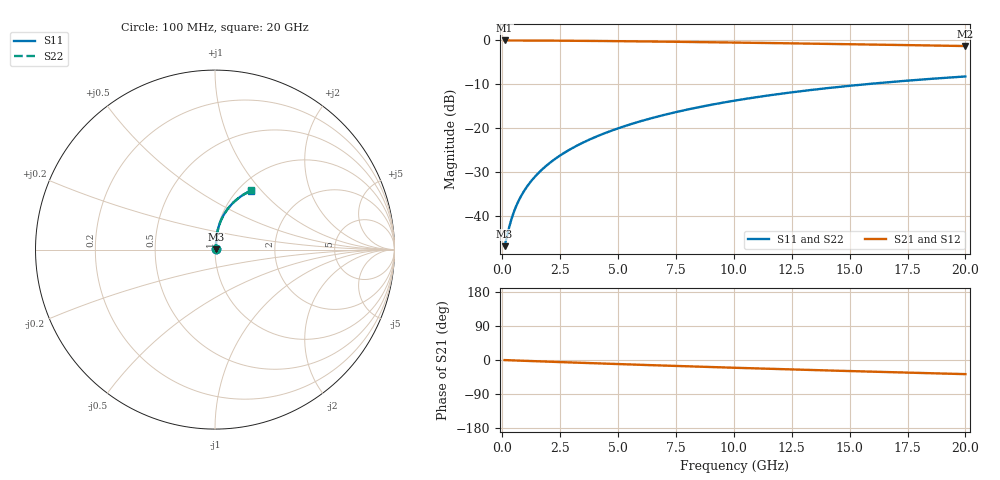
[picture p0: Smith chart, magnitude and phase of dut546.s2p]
! Touchstone file exported from HFSS 2024.1.0
!  File:  C:/UserFiles/LocalFiles/RDL_TSV_Batchsim/temp_RDL_bottom_546_1779689116.aedt
!  Generated:  02:07:57 PM May 25, 2026
!  Design:  RDL_bottom
!  Project:  temp_RDL_bottom_546_1779689116
!  Setup:  Setup1
!  Solution:  Sweep
! Variables:
!  dtsv = 10.80580581um
!  hbump = 3um
!  htsv = 60.38um
!  ldown = 474.34um
!  lrdl = 100um
!  p = 40
!  p1 = 54.75um
!  rhole = 1um
!  t = 450um
!  tdown = 2.19um
!  trdl = 3.915915916um
!  wdown = 20.83um
!  wrdl = 20um
# GHz S MA R 50.000000
! Terminal data exported
! Port[1] = RDL1_T1
! Port[2] = RDL1_T2
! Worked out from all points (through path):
!   200 points, 100 MHz to 20 GHz, reference 50 ohm
!   highest |S21| = -0.03 dB at 100 MHz (marker M1); lowest = -1.3 dB at 20 GHz (marker M2)
!   group delay of S21, straight-line fit = 5.15 ps
!   lowest |S11| = -47.0 dB at 100 MHz (marker M3), VSWR 1.01, Z = 50.4 + j0.209 ohm
!   |S11| at or under -10 dB: start of sweep to 15.75 GHz
!   |S22| runs from -47.0 to -8.2 dB; largest |S21 - S12| = 3.4e-15
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0.1  0.004487 27.6  0.996 -0.2  0.996 -0.2  0.004487 27.6
! Gamma 0 0 0 0
! Port Impedance 50 0 50 0
0.3  0.007438 55.9  0.9958 -0.7  0.9958 -0.7  0.007438 55.9
0.4  0.009211 62.1  0.9956 -0.9  0.9956 -0.9  0.009211 62.1
0.5  0.01103 66.2  0.9954 -1.1  0.9954 -1.1  0.01103 66.2
0.6  0.01286 69.1  0.9952 -1.4  0.9952 -1.4  0.01286 69.1
0.7  0.01469 71.3  0.995 -1.6  0.995 -1.6  0.01469 71.3
0.9  0.01837 74.4  0.9946 -2.0  0.9946 -2.0  0.01837 74.4
1.2  0.02391 77.3  0.994 -2.7  0.994 -2.7  0.02391 77.3
1.4  0.02764 78.7  0.9935 -3.1  0.9935 -3.1  0.02764 78.7
1.7  0.03329 80.1  0.9927 -3.8  0.9927 -3.8  0.03329 80.1
2.2  0.04283 81.6  0.9912 -4.8  0.9912 -4.8  0.04283 81.6
2.8  0.0545 82.5  0.9891 -6.1  0.9891 -6.1  0.0545 82.5
3.5  0.06839 82.9  0.986 -7.6  0.986 -7.6  0.0684 82.9
4.2  0.08256 82.8  0.9825 -9.1  0.9825 -9.1  0.08257 82.9
5  0.09904 82.4  0.978 -10.7  0.978 -10.7  0.09906 82.4
5.9  0.1179 81.5  0.9725 -12.6  0.9725 -12.6  0.1179 81.6
6.8  0.1369 80.4  0.9665 -14.3  0.9665 -14.3  0.1369 80.5
8.4  0.1708 78.1  0.9552 -17.4  0.9552 -17.4  0.1709 78.1
10.1  0.2064 75.3  0.9423 -20.6  0.9423 -20.6  0.2065 75.3
13.4  0.2726 69.5  0.9159 -26.5  0.9159 -26.5  0.2727 69.5
16.7  0.333 63.8  0.8882 -32.0  0.8882 -32.0  0.3331 63.8
20  0.3869 58.3  0.8601 -37.3  0.8601 -37.3  0.387 58.3
